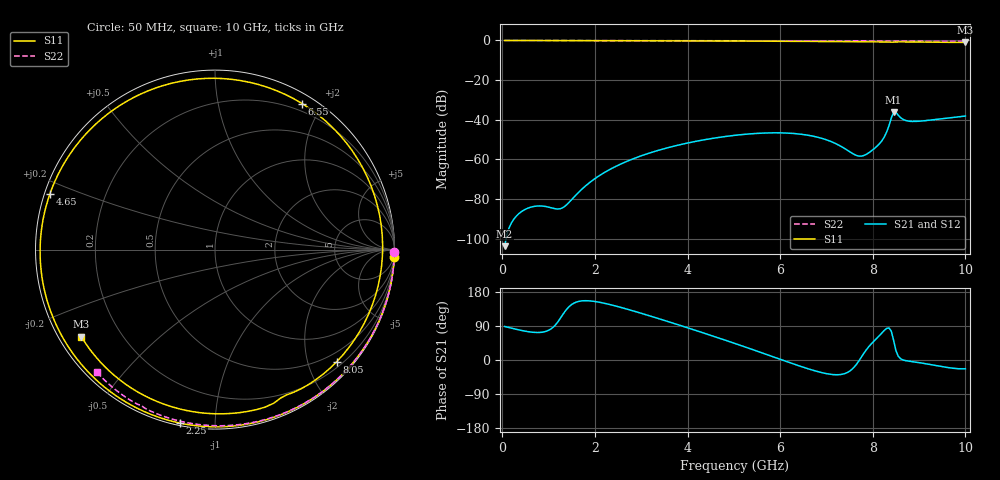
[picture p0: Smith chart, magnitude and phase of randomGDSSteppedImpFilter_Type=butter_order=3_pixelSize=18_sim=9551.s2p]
! freq	dB(S11)	phase(S11)	dB(S12)	phase(S12)
!  dB(S21)	phase(S21)	dB(S22)	phase(S22)
!S-par simulation data
#  GHz  S  DB  R 50
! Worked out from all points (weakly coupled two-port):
!   200 points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, 50 MHz to 10 GHz, reference 50 ohm
!   highest |S21| = -36.17 dB at 8.45 GHz (marker M1); lowest = -103.7 dB at 50 MHz (marker M2)
!   lowest |S11| = -1.0 dB at 10 GHz (marker M3), VSWR 17.00, Z = 3.2 - j14.8 ohm
!   |S11| at or under -10 dB: nowhere
!   |S22| runs from -0.5 to 0.0 dB; largest |S21 - S12| = 0
!   S11 on the Smith chart (normalised r, x): 50 MHz: 0, -47; 2.25 GHz: 0.01, -0.82; 4.65 GHz: 0.02, +0.16; 6.55 GHz: 0.11, +1.76; 8.05 GHz: 0.31, -2.54; 10 GHz: 0.06, -0.30
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0.05  -0.00 -2.4  -103.75 88.5  -103.75 88.5  -0.00 -0.8
0.7  -0.04 -33.2  -83.64 72.8  -83.64 72.8  -0.01 -10.7
1.5  -0.09 -69.5  -80.22 146.6  -80.22 146.6  -0.03 -22.7
1.75  -0.10 -80.3  -74.34 156.3  -74.34 156.3  -0.03 -26.5
2.25  -0.12 -101.3  -65.99 148.5  -65.99 148.5  -0.04 -33.8
3.4  -0.17 -147.3  -55.21 108.3  -55.21 108.3  -0.07 -50.4
4.05  -0.21 -173.3  -51.48 83.1  -51.48 83.1  -0.08 -59.4
4.65  -0.26 161.3  -48.98 59.0  -48.98 59.0  -0.10 -67.6
5.05  -0.29 143.1  -47.77 42.5  -47.77 42.5  -0.11 -72.9
5.9  -0.39 99.0  -46.58 6.3  -46.58 6.3  -0.14 -83.9
6.55  -0.47 59.2  -47.61 -21.1  -47.61 -21.1  -0.17 -92.1
6.7  -0.49 49.3  -48.22 -26.8  -48.22 -26.8  -0.18 -94.0
7.35  -0.58 4.7  -53.89 -37.3  -53.89 -37.3  -0.22 -102.0
7.75  -0.65 -22.7  -58.35 7.0  -58.35 7.0  -0.24 -106.8
8.05  -0.71 -42.6  -54.19 52.8  -54.19 52.8  -0.27 -110.4
8.25  -0.77 -55.2  -48.62 78.4  -48.62 78.4  -0.29 -112.8
8.35  -0.84 -61.3  -42.95 84.5  -42.95 84.5  -0.31 -114.1
8.45  -0.87 -66.2  -36.17 52.0  -36.17 52.0  -0.35 -115.1
8.65  -0.73 -78.5  -39.75 0.3  -39.75 0.3  -0.32 -117.3
8.85  -0.77 -90.0  -40.84 -4.3  -40.84 -4.3  -0.33 -119.8
9.35  -0.88 -116.2  -39.86 -14.3  -39.86 -14.3  -0.38 -125.8
10  -1.02 -146.9  -38.12 -23.1  -38.12 -23.1  -0.47 -134.1
